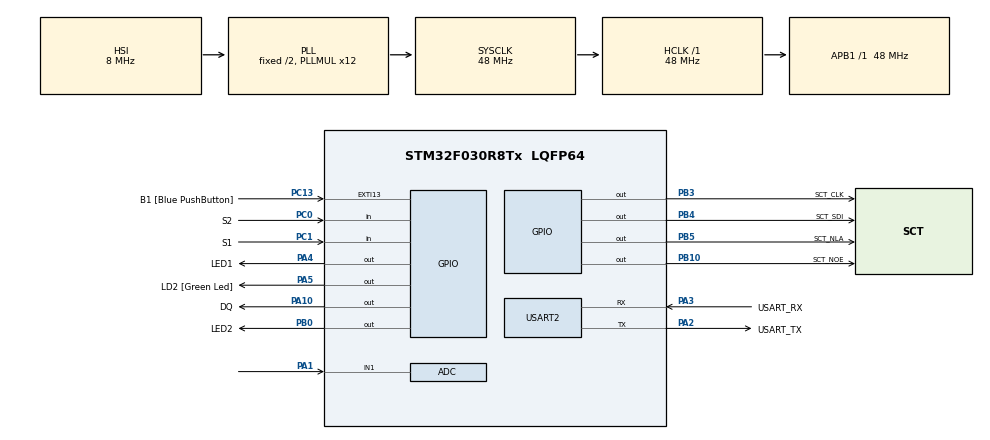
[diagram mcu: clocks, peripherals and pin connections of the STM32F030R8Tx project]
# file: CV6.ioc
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ADC.ContinuousConvMode=ENABLE
ADC.Overrun=ADC_OVR_DATA_OVERWRITTEN
ADC.Resolution=ADC_RESOLUTION_10B
ADC.SamplingTime=ADC_SAMPLETIME_239CYCLES_5
Mcu.Family=STM32F0
Mcu.Name=STM32F030R8Tx
Mcu.Package=LQFP64
PA1.Mode=IN1
PA1.Signal=ADC_IN1
PA10.GPIO_Label=DQ
PA10.GPIO_ModeDefaultOutputPP=GPIO_MODE_OUTPUT_OD
PA10.GPIO_PuPd=GPIO_NOPULL
PA10.PinState=GPIO_PIN_SET
PA10.Signal=GPIO_Output
PA13.GPIO_Label=TMS
PA13.Mode=Serial_Wire
PA13.Signal=SYS_SWDIO
PA14.GPIO_Label=TCK
PA14.Mode=Serial_Wire
PA14.Signal=SYS_SWCLK
PA2.GPIO_Label=USART_TX
PA2.GPIO_Mode=GPIO_MODE_AF_PP
PA2.GPIO_PuPd=GPIO_NOPULL
PA2.GPIO_Speed=GPIO_SPEED_FREQ_LOW
PA2.Mode=Asynchronous
PA2.Signal=USART2_TX
PA3.GPIO_Label=USART_RX
PA3.GPIO_Mode=GPIO_MODE_AF_PP
PA3.GPIO_PuPd=GPIO_NOPULL
PA3.GPIO_Speed=GPIO_SPEED_FREQ_LOW
PA3.Mode=Asynchronous
PA3.Signal=USART2_RX
PA4.GPIO_Label=LED1
PA4.Signal=GPIO_Output
PA5.GPIO_Label=LD2 [Green Led]
PA5.GPIO_Mode=GPIO_MODE_OUTPUT_PP
PA5.GPIO_PuPd=GPIO_NOPULL
PA5.GPIO_Speed=GPIO_SPEED_FREQ_LOW
PA5.Signal=GPIO_Output
PB0.GPIO_Label=LED2
PB0.Signal=GPIO_Output
PB10.GPIO_Label=SCT_NOE
PB10.Signal=GPIO_Output
PB3.GPIO_Label=SCT_CLK
PB3.Signal=GPIO_Output
PB4.GPIO_Label=SCT_SDI
PB4.Signal=GPIO_Output
PB5.GPIO_Label=SCT_NLA
PB5.Signal=GPIO_Output
PC0.GPIO_Label=S2
PC0.GPIO_PuPd=GPIO_PULLUP
PC0.Signal=GPIO_Input
PC1.GPIO_Label=S1
PC1.GPIO_PuPd=GPIO_PULLUP
PC1.Signal=GPIO_Input
PC13.GPIO_Label=B1 [Blue PushButton]
PC13.GPIO_ModeDefaultEXTI=GPIO_MODE_IT_FALLING
PC13.Signal=GPXTI13
PC14-OSC32_IN.Mode=LSE-External-Oscillator
PC14-OSC32_IN.Signal=RCC_OSC32_IN
PC15-OSC32_OUT.Mode=LSE-External-Oscillator
PC15-OSC32_OUT.Signal=RCC_OSC32_OUT
PF0-OSC_IN.Mode=HSE-External-Clock-Source
PF0-OSC_IN.Signal=RCC_OSC_IN
PF1-OSC_OUT.Signal=RCC_OSC_OUT
ProjectManager.HeapSize=0x200
ProjectManager.StackSize=0x400
ProjectManager.TargetToolchain=STM32CubeIDE
RCC.AHBFreq_Value=48000000
RCC.APB1Freq_Value=48000000
RCC.APB1TimFreq_Value=48000000
RCC.HCLKFreq_Value=48000000
RCC.PLLMUL=RCC_PLL_MUL12
RCC.SYSCLKFreq_VALUE=48000000
RCC.SYSCLKSource=RCC_SYSCLKSOURCE_PLLCLK
USART2.VirtualMode-Asynchronous=VM_ASYNC
board=NUCLEO-F030R8

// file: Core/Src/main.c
/* USER CODE BEGIN Header */
/**
  ******************************************************************************
  * @file           : main.c
  * @brief          : Main program body
  ******************************************************************************
  * @attention
  *
  * Copyright (c) 2023 STMicroelectronics.
  * All rights reserved.
  *
  * This software is licensed under terms that can be found in the LICENSE file
  * in the root directory of this software component.
  * If no LICENSE file comes with this software, it is provided AS-IS.
  *
  ******************************************************************************
  */
/* USER CODE END Header */
#include "main.h"

/* USER CODE BEGIN Includes */
#include "sct.h"
#include "1wire.h"
#include "data.dlm"
/* USER CODE END Includes */

ADC_HandleTypeDef hadc;

UART_HandleTypeDef huart2;

void SystemClock_Config(void);
static void MX_GPIO_Init(void);
static void MX_USART2_UART_Init(void);
static void MX_ADC_Init(void);
/* USER CODE BEGIN PFP */
#define CONVERT_T_DELAY 750
#define DELAY 50
/* USER CODE END PFP */

int main(void)
{

  /* MCU Configuration--------------------------------------------------------*/

  /* Reset of all peripherals, Initializes the Flash interface and the Systick. */
  HAL_Init();

  /* Configure the system clock */
  SystemClock_Config();

  /* Initialize all configured peripherals */
  MX_GPIO_Init();
  MX_USART2_UART_Init();
  MX_ADC_Init();
  /* USER CODE BEGIN 2 */

  sct_init();
  OWInit();

  HAL_ADCEx_Calibration_Start(&hadc);
  HAL_ADC_Start(&hadc);
  uint8_t NTC_state = 0;
  /* USER CODE END 2 */

  /* Infinite loop */
  while (1)
  {

    /* USER CODE BEGIN 3 */
	int16_t temp_18b20;
	if(!HAL_GPIO_ReadPin(S2_GPIO_Port, S2_Pin))
	{
		NTC_state = 1;
	}
	else if(!HAL_GPIO_ReadPin(S1_GPIO_Port, S1_Pin))
	{
		NTC_state = 0;
	}

	if(NTC_state){
		temp_18b20 = tDat[HAL_ADC_GetValue(&hadc)];
		HAL_Delay(CONVERT_T_DELAY);
		sct_value(temp_18b20,0,2);
		HAL_GPIO_WritePin(LED1_GPIO_Port, LED1_Pin, 1);
		HAL_GPIO_WritePin(LED2_GPIO_Port, LED2_Pin, 0);
	}

	else{
		OWConvertAll();
		HAL_Delay(CONVERT_T_DELAY);
		OWReadTemperature(&temp_18b20);
		temp_18b20 /= 10;
		sct_value(temp_18b20,0,2);
		HAL_GPIO_WritePin(LED1_GPIO_Port, LED1_Pin, 0);
		HAL_GPIO_WritePin(LED2_GPIO_Port, LED2_Pin, 1);

	}
	HAL_Delay(DELAY);
  }
  /* USER CODE END 3 */
}

void SystemClock_Config(void)
{
  RCC_OscInitTypeDef RCC_OscInitStruct = {0};
  RCC_ClkInitTypeDef RCC_ClkInitStruct = {0};

  /** Initializes the RCC Oscillators according to the specified parameters
  * in the RCC_OscInitTypeDef structure.
  */
  RCC_OscInitStruct.OscillatorType = RCC_OSCILLATORTYPE_HSI|RCC_OSCILLATORTYPE_HSI14;
  RCC_OscInitStruct.HSIState = RCC_HSI_ON;
  RCC_OscInitStruct.HSI14State = RCC_HSI14_ON;
  RCC_OscInitStruct.HSICalibrationValue = RCC_HSICALIBRATION_DEFAULT;
  RCC_OscInitStruct.HSI14CalibrationValue = 16;
  RCC_OscInitStruct.PLL.PLLState = RCC_PLL_ON;
  RCC_OscInitStruct.PLL.PLLSource = RCC_PLLSOURCE_HSI;
  RCC_OscInitStruct.PLL.PLLMUL = RCC_PLL_MUL12;
  RCC_OscInitStruct.PLL.PREDIV = RCC_PREDIV_DIV1;
  if (HAL_RCC_OscConfig(&RCC_OscInitStruct) != HAL_OK)
  {
    Error_Handler();
  }

  /** Initializes the CPU, AHB and APB buses clocks
  */
  RCC_ClkInitStruct.ClockType = RCC_CLOCKTYPE_HCLK|RCC_CLOCKTYPE_SYSCLK
                              |RCC_CLOCKTYPE_PCLK1;
  RCC_ClkInitStruct.SYSCLKSource = RCC_SYSCLKSOURCE_PLLCLK;
  RCC_ClkInitStruct.AHBCLKDivider = RCC_SYSCLK_DIV1;
  RCC_ClkInitStruct.APB1CLKDivider = RCC_HCLK_DIV1;

  if (HAL_RCC_ClockConfig(&RCC_ClkInitStruct, FLASH_LATENCY_1) != HAL_OK)
  {
    Error_Handler();
  }
}

static void MX_ADC_Init(void)
{

  ADC_ChannelConfTypeDef sConfig = {0};

  /** Configure the global features of the ADC (Clock, Resolution, Data Alignment and number of conversion)
  */
  hadc.Instance = ADC1;
  hadc.Init.ClockPrescaler = ADC_CLOCK_ASYNC_DIV1;
  hadc.Init.Resolution = ADC_RESOLUTION_10B;
  hadc.Init.DataAlign = ADC_DATAALIGN_RIGHT;
  hadc.Init.ScanConvMode = ADC_SCAN_DIRECTION_FORWARD;
  hadc.Init.EOCSelection = ADC_EOC_SINGLE_CONV;
  hadc.Init.LowPowerAutoWait = DISABLE;
  hadc.Init.LowPowerAutoPowerOff = DISABLE;
  hadc.Init.ContinuousConvMode = ENABLE;
  hadc.Init.DiscontinuousConvMode = DISABLE;
  hadc.Init.ExternalTrigConv = ADC_SOFTWARE_START;
  hadc.Init.ExternalTrigConvEdge = ADC_EXTERNALTRIGCONVEDGE_NONE;
  hadc.Init.DMAContinuousRequests = DISABLE;
  hadc.Init.Overrun = ADC_OVR_DATA_OVERWRITTEN;
  if (HAL_ADC_Init(&hadc) != HAL_OK)
  {
    Error_Handler();
  }

  /** Configure for the selected ADC regular channel to be converted.
  */
  sConfig.Channel = ADC_CHANNEL_1;
  sConfig.Rank = ADC_RANK_CHANNEL_NUMBER;
  sConfig.SamplingTime = ADC_SAMPLETIME_239CYCLES_5;
  if (HAL_ADC_ConfigChannel(&hadc, &sConfig) != HAL_OK)
  {
    Error_Handler();
  }

}

static void MX_USART2_UART_Init(void)
{

  huart2.Instance = USART2;
  huart2.Init.BaudRate = 38400;
  huart2.Init.WordLength = UART_WORDLENGTH_8B;
  huart2.Init.StopBits = UART_STOPBITS_1;
  huart2.Init.Parity = UART_PARITY_NONE;
  huart2.Init.Mode = UART_MODE_TX_RX;
  huart2.Init.HwFlowCtl = UART_HWCONTROL_NONE;
  huart2.Init.OverSampling = UART_OVERSAMPLING_16;
  huart2.Init.OneBitSampling = UART_ONE_BIT_SAMPLE_DISABLE;
  huart2.AdvancedInit.AdvFeatureInit = UART_ADVFEATURE_NO_INIT;
  if (HAL_UART_Init(&huart2) != HAL_OK)
  {
    Error_Handler();
  }

}

static void MX_GPIO_Init(void)
{
  GPIO_InitTypeDef GPIO_InitStruct = {0};

  /* GPIO Ports Clock Enable */
  __HAL_RCC_GPIOC_CLK_ENABLE();
  __HAL_RCC_GPIOF_CLK_ENABLE();
  __HAL_RCC_GPIOA_CLK_ENABLE();
  __HAL_RCC_GPIOB_CLK_ENABLE();

  /*Configure GPIO pin Output Level */
  HAL_GPIO_WritePin(GPIOA, LED1_Pin|LD2_Pin, GPIO_PIN_RESET);

  /*Configure GPIO pin Output Level */
  HAL_GPIO_WritePin(GPIOB, LED2_Pin|SCT_NOE_Pin|SCT_CLK_Pin|SCT_SDI_Pin
                          |SCT_NLA_Pin, GPIO_PIN_RESET);

  /*Configure GPIO pin Output Level */
  HAL_GPIO_WritePin(DQ_GPIO_Port, DQ_Pin, GPIO_PIN_SET);

  /*Configure GPIO pin : B1_Pin */
  GPIO_InitStruct.Pin = B1_Pin;
  GPIO_InitStruct.Mode = GPIO_MODE_IT_FALLING;
  GPIO_InitStruct.Pull = GPIO_NOPULL;
  HAL_GPIO_Init(B1_GPIO_Port, &GPIO_InitStruct);

  /*Configure GPIO pins : S2_Pin S1_Pin */
  GPIO_InitStruct.Pin = S2_Pin|S1_Pin;
  GPIO_InitStruct.Mode = GPIO_MODE_INPUT;
  GPIO_InitStruct.Pull = GPIO_PULLUP;
  HAL_GPIO_Init(GPIOC, &GPIO_InitStruct);

  /*Configure GPIO pins : LED1_Pin LD2_Pin */
  GPIO_InitStruct.Pin = LED1_Pin|LD2_Pin;
  GPIO_InitStruct.Mode = GPIO_MODE_OUTPUT_PP;
  GPIO_InitStruct.Pull = GPIO_NOPULL;
  GPIO_InitStruct.Speed = GPIO_SPEED_FREQ_LOW;
  HAL_GPIO_Init(GPIOA, &GPIO_InitStruct);

  /*Configure GPIO pins : LED2_Pin SCT_NOE_Pin SCT_CLK_Pin SCT_SDI_Pin
                           SCT_NLA_Pin */
  GPIO_InitStruct.Pin = LED2_Pin|SCT_NOE_Pin|SCT_CLK_Pin|SCT_SDI_Pin
                          |SCT_NLA_Pin;
  GPIO_InitStruct.Mode = GPIO_MODE_OUTPUT_PP;
  GPIO_InitStruct.Pull = GPIO_NOPULL;
  GPIO_InitStruct.Speed = GPIO_SPEED_FREQ_LOW;
  HAL_GPIO_Init(GPIOB, &GPIO_InitStruct);

  /*Configure GPIO pin : DQ_Pin */
  GPIO_InitStruct.Pin = DQ_Pin;
  GPIO_InitStruct.Mode = GPIO_MODE_OUTPUT_OD;
  GPIO_InitStruct.Pull = GPIO_NOPULL;
  GPIO_InitStruct.Speed = GPIO_SPEED_FREQ_LOW;
  HAL_GPIO_Init(DQ_GPIO_Port, &GPIO_InitStruct);

}

void Error_Handler(void)
{
  __disable_irq();
  while (1)
  {
  }
}
